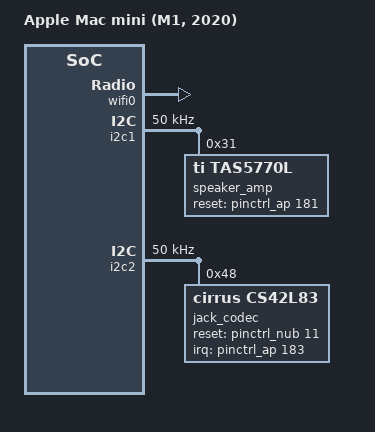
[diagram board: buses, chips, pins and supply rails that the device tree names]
// SPDX-License-Identifier: GPL-2.0+ OR MIT
/*
 * Apple Mac mini (M1, 2020)
 *
 * target-type: J274
 *
 * Copyright The Asahi Linux Contributors
 */

/dts-v1/;

#include "t8103.dtsi"
#include "t8103-jxxx.dtsi"

/ {
	compatible = "apple,j274", "apple,t8103", "apple,arm-platform";
	model = "Apple Mac mini (M1, 2020)";

	aliases {
		ethernet0 = &ethernet0;
	};
};

&wifi0 {
	brcm,board-type = "apple,atlantisb";
};

/*
 * Provide labels for the USB type C ports.
 */

&typec0 {
	label = "USB-C Back-left";
};

&typec1 {
	label = "USB-C Back-right";
};

/*
 * Force the bus number assignments so that we can declare some of the
 * on-board devices and properties that are populated by the bootloader
 * (such as MAC addresses).
 */

&port01 {
	bus-range = <2 2>;
};

&port02 {
	bus-range = <3 3>;
	ethernet0: ethernet@0,0 {
		reg = <0x30000 0x0 0x0 0x0 0x0>;
		/* To be filled by the loader */
		local-mac-address = [00 10 18 00 00 00];
	};
};

&i2c1 {
	clock-frequency = <50000>;

	speaker_amp: codec@31 {
		compatible = "ti,tas5770l", "ti,tas2770";
		reg = <0x31>;
		reset-gpios = <&pinctrl_ap 181 GPIO_ACTIVE_HIGH>;
		#sound-dai-cells = <0>;
	};
};

&i2c2 {
	status = "okay";

	clock-frequency = <50000>;

	jack_codec: codec@48 {
		compatible = "cirrus,cs42l83", "cirrus,cs42l42";
		reg = <0x48>;
		reset-gpios = <&pinctrl_nub 11 GPIO_ACTIVE_HIGH>;
		interrupt-parent = <&pinctrl_ap>;
		interrupts = <183 IRQ_TYPE_LEVEL_LOW>;
		#sound-dai-cells = <0>;
		cirrus,ts-inv = <1>;
	};
};

/ {
	sound {
		compatible = "simple-audio-card";
		simple-audio-card,name = "Mac mini integrated audio";
		#address-cells = <1>;
		#size-cells = <0>;

		simple-audio-card,dai-link@0 {
			reg = <0>;
			format = "left_j";
			tdm-slot-width = <32>;
			mclk-fs = <64>;

			link0_cpu: cpu {
				sound-dai = <&mca 0>;
				bitclock-master;
				frame-master;
			};

			link0_codec: codec {
				sound-dai = <&speaker_amp>;
			};
		};

		simple-audio-card,dai-link@1 {
			bitclock-inversion;
			frame-inversion;
			reg = <1>;
			format = "i2s";
			mclk-fs = <64>;
			tdm-slot-width = <32>;

			link1_cpu: cpu {
				sound-dai = <&mca 2>;
				bitclock-master;
				frame-master;
			};

			link1_codec: codec {
				sound-dai = <&jack_codec>;
			};
		};
	};
};
